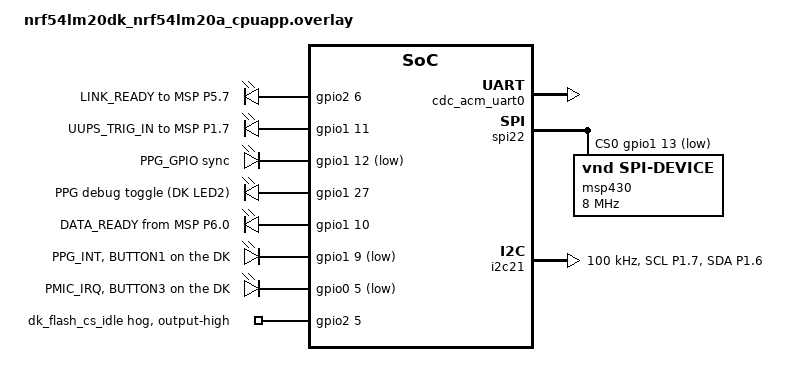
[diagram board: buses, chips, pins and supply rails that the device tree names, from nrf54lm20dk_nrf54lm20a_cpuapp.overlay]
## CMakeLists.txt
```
# SPDX-License-Identifier: Apache-2.0

cmake_minimum_required(VERSION 3.20.0)
find_package(Zephyr REQUIRED HINTS $ENV{ZEPHYR_BASE})
project(us-ppg-patch)

include(${ZEPHYR_BASE}/samples/subsys/usb/common/common.cmake)


target_sources(app PRIVATE
	src/main.c
	src/commands.c
	src/wulpus_appl.c
)

# Data link to the PC: BLE or USB, see CONFIG_APP_TRANSPORT_BLE in Kconfig.
if(CONFIG_APP_TRANSPORT_BLE)
	target_sources(app PRIVATE src/transport_ble.c)
else()
	target_sources(app PRIVATE src/transport_usb.c)
endif()

# M7: PPG SOURCE, SEE CONFIG_APP_PPG_REAL IN KCONFIG.
# THE FILE LIST IS THE SAME AS IN BIOGAP'S CMAKELISTS.TXT, WITHOUT I2C_MUX.C
# (i2c_mux/I2C_MUX.H IS A HEADER-ONLY STUB).
if(CONFIG_APP_PPG_REAL)
	target_sources(app PRIVATE
		src/ppg_new/maxm86161_i2c.c
		src/ppg_new/maxm86161.c
		src/ppg_new/ppg_new_appl.c
	)
else()
	target_sources(app PRIVATE src/dummy_source.c)
endif()

# M7: SAME INCLUDE PATHS AS BIOGAP, SO THE COPIED FILES KEEP THEIR #INCLUDE LINES:
# SRC FOR "ppg_new/ppg_new_appl.h" AND "i2c_mux/i2c_mux.h",
# SRC/ppg_new FOR THE BARE "maxm86161_i2c.h" ETC.
target_include_directories(app PRIVATE
	src
	src/ppg_new
)


# Part A of M5. Remove for a real MSP.
target_compile_definitions(app PRIVATE WULPUS_LOOPBACK_TEST)
```

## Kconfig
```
# USB helper options from the Zephyr samples.
source "samples/subsys/usb/common/Kconfig.sample_usbd"

config APP_TRANSPORT_BLE
	bool "Send data over BLE (NUS) instead of USB"
	default y
	help
	  y: transport_ble.c, data goes over BLE to the dongle.
	  n: transport_usb.c, data goes over the DK's nRF USB port.

# M7: REAL MAXM86161 OR FAKE PPG DATA.
config APP_PPG_REAL
	bool "Read PPG from the MAXM86161 instead of dummy data"
	default y
	select I2C
	help
	  y: ppg_new (ported from BioGAP), needs the sensor on I2C.
	  n: dummy_source.c, a fake triangle wave, no sensor needed.


source "Kconfig.zephyr"
```

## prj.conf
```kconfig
CONFIG_GPIO=y

# USB CDC ACM (data link to BioGUI)
CONFIG_USB_DEVICE_STACK_NEXT=y
CONFIG_USBD_CDC_ACM_CLASS=y
CONFIG_CDC_ACM_SERIAL_INITIALIZE_AT_BOOT=n
CONFIG_SERIAL=y
CONFIG_UART_LINE_CTRL=y
CONFIG_UART_INTERRUPT_DRIVEN=y
CONFIG_RING_BUFFER=y

CONFIG_LOG=y
CONFIG_USBD_LOG_LEVEL_ERR=y
CONFIG_UDC_DRIVER_LOG_LEVEL_ERR=y
CONFIG_USBD_CDC_ACM_LOG_LEVEL_OFF=y

CONFIG_SAMPLE_USBD_PRODUCT="BA patch"
CONFIG_SAMPLE_USBD_PID=0x0001

CONFIG_MAIN_STACK_SIZE=2048

# SPI to the MSP430
CONFIG_SPI=y


# BLE data link (from BioGAP prj.conf, adapted to NCS 3.4)
CONFIG_BT=y
CONFIG_BT_PERIPHERAL=y
CONFIG_BT_DEVICE_NAME="BIOGAPULTRA"
CONFIG_BT_MAX_CONN=1
CONFIG_BT_NUS=y
CONFIG_BT_GATT_CLIENT=y
CONFIG_BT_USER_PHY_UPDATE=y
CONFIG_BT_USER_DATA_LEN_UPDATE=y
CONFIG_BT_L2CAP_TX_MTU=247
CONFIG_BT_BUF_ACL_RX_SIZE=251
CONFIG_BT_BUF_ACL_TX_SIZE=251
CONFIG_BT_CTLR_DATA_LENGTH_MAX=251
CONFIG_BT_BUF_ACL_TX_COUNT=10
CONFIG_BT_BUF_EVT_RX_COUNT=11

CONFIG_APP_TRANSPORT_BLE=y

#CONFIG_APP_PPG_REAL=n

CONFIG_BT_CTLR_SDC_TX_PACKET_COUNT=10
```

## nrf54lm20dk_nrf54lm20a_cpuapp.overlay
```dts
/*
 * Own-board signals on the nRF54LM20 DK.
 * P2 has no GPIOTE, so interrupt inputs must stay on P0, P1 or P3.
 */

/ {
	/* M7: PPG_NEW_APPL.C USES DEVICE_DT_GET(DT_ALIAS(I2CB)), AS IN BIOGAP. */
	aliases {
		i2cb = &i2c21;
	};

	patch_outputs {
		compatible = "gpio-leds";

		link_ready: link_ready {
			gpios = <&gpio2 6 GPIO_ACTIVE_HIGH>;
			label = "LINK_READY to MSP P5.7";
		};

		uups_trig: uups_trig {
			gpios = <&gpio1 11 GPIO_ACTIVE_HIGH>;
			label = "UUPS_TRIG_IN to MSP P1.7";
		};

		ppg_sync: ppg_sync {
			gpios = <&gpio1 12 GPIO_ACTIVE_LOW>;
			label = "PPG_GPIO sync";
		};

		/* M7: BIOGAP'S PPG_DEBUG TOGGLE OUTPUT. ON THE DK IT GOES TO LED2
		 * (P1.27), SO IT BLINKS EVERY 100 PPG SAMPLES. THE OWN BOARD HAS
		 * NO SUCH PIN: USE A SPARE PIN OR TEST POINT THERE. */
		ppg_debug: ppg_debug {
			gpios = <&gpio1 27 GPIO_ACTIVE_HIGH>;
			label = "PPG debug toggle (DK LED2)";
		};
	};

	patch_inputs {
		compatible = "gpio-leds";

		data_ready: data_ready {
			gpios = <&gpio1 10 (GPIO_ACTIVE_HIGH | GPIO_PULL_DOWN)>;
			label = "DATA_READY from MSP P6.0";
		};

		/* M7: LABEL RENAMED FROM PPG_INT TO PPG_INTB, THE NAME BIOGAP'S
		 * PPG_NEW_APPL.C EXPECTS. SAME PIN AS BEFORE. */
		ppg_intb: ppg_intb {
			gpios = <&gpio1 9 (GPIO_ACTIVE_LOW | GPIO_PULL_UP)>;
			label = "PPG_INT, BUTTON1 on the DK";
		};

		pmic_irq: pmic_irq {
			gpios = <&gpio0 5 (GPIO_ACTIVE_LOW | GPIO_PULL_UP)>;
			label = "PMIC_IRQ, BUTTON3 on the DK";
		};
	};
};

/* Creates a virtual serial port on the nRF's USB connector. */
&zephyr_udc0 {
	cdc_acm_uart0: cdc_acm_uart0 {
		compatible = "zephyr,cdc-acm-uart";
		label = "Patch data link";
	};
};

/*
 * DK only: the onboard flash shares SPI00 and uses P2.05 as CS.
 * Remove the flash node, keep P2.05 high, and use P1.13 as CS.
 * On the own board: remove the &gpio2 block and use P2.05 as CS.
 * WICHTIG: auf DK funktioniert port 2 nicht für SPI (MISO, MOSI) das fürs eigene board aber wieder zurücksetzen. -> &spi00
 */
/delete-node/ &mx25r64;

&gpio2 {
	dk_flash_cs_idle {
		gpio-hog;
		gpios = <5 GPIO_ACTIVE_HIGH>;
		output-high;
	};
};

&spi22 {
	status = "okay";
	cs-gpios = <&gpio1 13 GPIO_ACTIVE_LOW>;

	msp430: msp430@0 {
		compatible = "vnd,spi-device";
		reg = <0>;
		spi-max-frequency = <DT_FREQ_M(8)>;
	};
};

/*
 * M7: I2C TO THE MAXM86161.
 * DK: TWIM21 ON P1.07 (SCL) AND P1.06 (SDA), BOTH ON THE DK'S PIN HEADER.
 *  - NOT TWIM20: IT SHARES ITS HARDWARE WITH UART20, THE DK'S LOG CONSOLE.
 *  - NOT TWIM22: IT SHARES ITS HARDWARE WITH SPI22, USED FOR THE MSP ABOVE.
 *  - NOT P1.28 FOR SDA (OWN-BOARD PIN): ON THE DK IT DRIVES LED3.
 * OWN BOARD: SCL P1.07, SDA P1.28 (SEE PINBELEGUNG_MSP_NRF.XLSX).
 * BIAS-PULL-UP TURNS ON THE NRF'S WEAK INTERNAL PULL-UPS. THEY ARE ONLY A
 * FALLBACK: THE PPG BOARD SHOULD HAVE ITS OWN PULL-UP RESISTORS.
 */
&pinctrl {
	i2c21_default: i2c21_default {
		group1 {
			psels = <NRF_PSEL(TWIM_SCL, 1, 7)>,
				<NRF_PSEL(TWIM_SDA, 1, 6)>;
			bias-pull-up;
		};
	};

	i2c21_sleep: i2c21_sleep {
		group1 {
			psels = <NRF_PSEL(TWIM_SCL, 1, 7)>,
				<NRF_PSEL(TWIM_SDA, 1, 6)>;
			low-power-enable;
		};
	};
};

&i2c21 {
	status = "okay";
	pinctrl-0 = <&i2c21_default>;
	pinctrl-1 = <&i2c21_sleep>;
	pinctrl-names = "default", "sleep";
	/* M7: 400 KHZ. THE MAXM86161 SUPPORTS FAST MODE. but only with pukkups.  */
	clock-frequency = <I2C_BITRATE_STANDARD>;
};
```

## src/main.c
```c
/*
 * M5: real WULPUS SPI module, PPG still dummy.
 * With WULPUS_LOOPBACK_TEST, a thread plays the MSP on DATA_READY.
 * M7: REAL PPG SENSOR (MAXM86161) WITH CONFIG_APP_PPG_REAL=Y, OTHERWISE DUMMY.
 */

#include <stdio.h>
#include <zephyr/kernel.h>
#include <zephyr/drivers/gpio.h>
#include <string.h>

#include "commands.h"
#include "transport.h"
#include "wulpus_appl.h"

#if defined(CONFIG_APP_PPG_REAL)
#include "ppg_new/ppg_new_appl.h"
#else
#include "dummy_source.h"
#endif

static const struct gpio_dt_spec led = GPIO_DT_SPEC_GET(DT_ALIAS(led0), gpios);

#if defined(WULPUS_LOOPBACK_TEST)
static const struct gpio_dt_spec fake_data_ready =
	GPIO_DT_SPEC_GET(DT_NODELABEL(uups_trig), gpios);

static void fake_msp_thread(void *a, void *b, void *c)
{
	gpio_pin_configure_dt(&fake_data_ready, GPIO_OUTPUT_INACTIVE);

	while (1) {
		k_msleep(33);

		if (wulpus_is_streaming()) {
			gpio_pin_set_dt(&fake_data_ready, 1);
			k_busy_wait(50);
			gpio_pin_set_dt(&fake_data_ready, 0);
		}
	}
}

K_THREAD_DEFINE(fake_msp_tid, 1024, fake_msp_thread, NULL, NULL, NULL, 7, 0, 0);

#endif

int main(void)
{
	if (!gpio_is_ready_dt(&led)) {
		return 0;
	}

	gpio_pin_configure_dt(&led, GPIO_OUTPUT_INACTIVE);

	wulpus_init();

#if defined(CONFIG_APP_PPG_REAL)
	/* SAME AS BIOGAP MAIN.C: IF THE SENSOR DOESN'T ANSWER, LOG IT AND KEEP
	 * RUNNING, SO ULTRASOUND STILL WORKS. */
	if (ppg_new_init() != 0) {
		printf("PPG init failed - PPG streaming disabled\n");
	}
#endif

	if (commands_init() != 0 || transport_init() != 0) {
		return 0;
	}

	printf("M7 started\n");

	while (1) {
		gpio_pin_toggle_dt(&led);
#if defined(CONFIG_APP_PPG_REAL)
		/* PPG_NEW HAS NO PACKET COUNTER GETTER. STATE: 0 IDLE, 1 STARTING,
		 * 2 STREAMING, 3 STOPPING, 4 ERROR. */
		printf("frames=%u spi_errors=%u ppg_state=%d dropped=%u\n", wulpus_frames(),
		       wulpus_spi_errors(), (int)ppg_new_get_state(),
		       transport_dropped_packets());
#else
		printf("frames=%u spi_errors=%u ppg_packets=%u dropped=%u\n", wulpus_frames(),
		       wulpus_spi_errors(), dummy_ppg_packets(), transport_dropped_packets());
#endif
		k_msleep(1000);
	}

	return 0;
}
```

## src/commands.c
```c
/*
 * Command handling, cut down from BioGAP core/command_dispatcher.c.
 * USB has no message boundaries, so the first byte gives the message length.
 */

#include "commands.h"
#include "transport.h"
#include "wulpus_appl.h"

/* M7: REAL SENSOR (PPG_NEW_APPL.C) OR FAKE DATA (DUMMY_SOURCE.C),
 * PICKED WITH CONFIG_APP_PPG_REAL IN KCONFIG. */
#if defined(CONFIG_APP_PPG_REAL)
#include "ppg_new/ppg_new_appl.h"
#else
#include "dummy_source.h"
#endif

#include <stdbool.h>
#include <stdio.h>
#include <string.h>
#include <zephyr/kernel.h>

#define START_PPG_STREAMING 39
#define STOP_PPG_STREAMING 40
#define START_WULPUS_STREAMING 41
#define STOP_WULPUS_STREAMING 42

#define MSP_CONFIG_BYTE 0xFA
#define MSP_RESTART_BYTE 0xFB
#define PPG_START_LEN 12

static bool wulpus_restart_rcv;

static uint8_t rx_msg[MSP_RESTART_PCK_LEN];
static uint16_t rx_pos;
static uint16_t rx_need;

static uint16_t message_length(uint8_t first)
{
	switch (first) {
	case START_PPG_STREAMING:
		return PPG_START_LEN;
	case STOP_PPG_STREAMING:
	case START_WULPUS_STREAMING:
	case STOP_WULPUS_STREAMING:
		return 1;
	case MSP_CONFIG_BYTE:
	case MSP_RESTART_BYTE:
		return MSP_RESTART_PCK_LEN;
	default:
		return 0;
	}
}

#if defined(CONFIG_APP_PPG_REAL)
/* COPIED FROM BIOGAP CORE/COMMAND_DISPATCHER.C, CASE START_PPG_STREAMING.
 * THE PARSER ABOVE ALWAYS DELIVERS ALL 12 BYTES, SO THE DEFAULTS ONLY
 * MATTER IF PPG_START_LEN IS EVER CHANGED. */
static void ppg_start_from_command(const uint8_t *data, uint16_t size)
{
      /*
       * Payload layout (bytes after command code 39):
       *   [1]  sensor_mask
       *   [2]  sample_rate_hz
       *   [3]  led_green     (0x00 = disable)
       *   [4]  led_ir        (0x00 = disable)
       *   [5]  led_red       (0x00 = disable)
       *   [6]  led_range     (0-3 index)
       *   [7]  tint          (0-3 index)
       *   [8]  adc_range     (0-3 index)
       *   [9]  sample_avg    (0-7 index)
       *   [10] alc_enable    (0/1)
       *   [11] proximity_enable (0/1)
       * Total packet size: 12 bytes (cmd + 11 config bytes).
       * If the payload is shorter than expected (e.g. the WiFi shield's
       * fixed-size command transaction, which only ever supplies the
       * opcode), missing bytes fall back to these defaults.
       */
      const uint8_t *d = data;
      uint16_t       n = size;

      ppg_config_t pcfg = {
        .sensor_mask      = (n >  1) ? d[1]  : 0x01,
        .sample_rate_hz   = (n >  2) ? d[2]  : 125,
        .led_green        = (n >  3) ? d[3]  : 0x7F,
        .led_ir           = (n >  4) ? d[4]  : 0x7F,
        .led_red          = (n >  5) ? d[5]  : 0x7F,
        .led_range        = (n >  6) ? d[6]  : 3,   /* default 32k */
        .tint             = (n >  7) ? d[7]  : 3,   /* default 117.3 µs */
        .adc_range        = (n >  8) ? d[8]  : 3,   /* default 32k */
        .sample_avg       = (n >  9) ? d[9]  : 0,   /* default 1x */
        .alc_enable       = (n > 10) ? d[10] : 1,   /* default on */
        .proximity_enable = (n > 11) ? d[11] : 0,   /* default off */
      };

      ppg_new_start_streaming(&pcfg);
}
#endif

void handle_connectivity_command(const uint8_t *data, uint16_t size)
{
	switch (data[0]) {
	case START_PPG_STREAMING:
		printf("PPG start: %u Hz\n", data[2]);
#if defined(CONFIG_APP_PPG_REAL)
		ppg_start_from_command(data, size);
#else
		dummy_ppg_start();
#endif
		break;

	case STOP_PPG_STREAMING:
		printf("PPG stop\n");
#if defined(CONFIG_APP_PPG_REAL)
		ppg_new_stop_streaming();
#else
		dummy_ppg_stop();
#endif
		break;

	case START_WULPUS_STREAMING:
		printf("WULPUS start\n");
		wulpus_restart_rcv = true;
		break;

	case STOP_WULPUS_STREAMING:
		printf("WULPUS stop\n");
		wulpus_stop();
		break;

	default:
		if (wulpus_restart_rcv) {
			printf("MSP package 0x%02X, %u bytes\n", data[0], size);
			wulpus_set_msp_config(data, size);
		}
		break;
	}
}

/**
 * Handles received bytes from the transport layer.
 * @param data Pointer to the received data.
 * @param size Number of bytes received.
 */
void transport_rx_bytes(const uint8_t *data, uint32_t size)
{
	for (uint32_t i = 0; i < size; i++) {
		if (rx_pos == 0) {
			rx_need = message_length(data[i]);
			if (rx_need == 0) {
				printf("Unknown byte: 0x%02X\n", data[i]);
				continue;
			}
		}
		/*bytes are collected in rx_msg until rx_need (=complete message) is reached*/
		rx_msg[rx_pos++] = data[i];

		if (rx_pos == rx_need) {
			handle_connectivity_command(rx_msg, rx_need);
			rx_pos = 0;
		}
	}
}

int commands_init(void)
{
	return 0;
}
```

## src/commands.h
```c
#ifndef COMMANDS_H
#define COMMANDS_H

#include <stdint.h>

int commands_init(void);

/* Same name as in BioGAP command_dispatcher.h. */
void handle_connectivity_command(const uint8_t *data, uint16_t size);

#endif
```

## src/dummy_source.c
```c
/*
 * Fake ultrasound frames and PPG packets in the final BLE packet format.
 * Replaced by wulpus_appl.c in M5 and ppg_new in M7.
 */

#include "dummy_source.h"
#include "transport.h"

#include <string.h>
#include <zephyr/kernel.h>
#include <zephyr/sys/byteorder.h>

#define PKT_SIZE 211

#define US_FRAME_SIZE 804
#define US_CHUNK_SIZE 201
#define US_CHUNKS 4
#define US_SAMPLES 400
#define US_PERIOD_MS 33

#define PPG_HEADER 0x70
#define PPG_TRAILER 0x71
#define PPG_SAMPLES 4
#define PPG_LEDS 3
#define PPG_PERIOD_MS 32

static atomic_t us_on;
static atomic_t ppg_on;
static atomic_t us_frames;
static atomic_t ppg_packets;

static uint8_t us_frame[US_FRAME_SIZE];

void dummy_us_start(void)
/*writes value into atomic_t us_on*/
{
	atomic_set(&us_on, 1);
}

void dummy_us_stop(void)
/*writes value into atomic_t us_on*/
{
	atomic_set(&us_on, 0);
}

void dummy_ppg_start(void)
/*writes value into atomic_t ppg_on*/
{
	atomic_set(&ppg_on, 1);
}

void dummy_ppg_stop(void)
/*writes value into atomic_t ppg_on*/
{
	atomic_set(&ppg_on, 0);
}

uint32_t dummy_us_frames(void)
{
	return atomic_get(&us_frames);
}

uint32_t dummy_ppg_packets(void)
{
	return atomic_get(&ppg_packets);
}

static void build_us_frame(uint16_t frame_nr)
{
	us_frame[0] = 0xFF;
	us_frame[1] = 0;
	sys_put_le16(frame_nr, &us_frame[2]); /*writes value into us_frame[2] and us_frame[3], frame_nr = 16bit value, &us_frame[2] is the address of the first byte */

	for (int i = 0; i < US_SAMPLES; i++) {
		int16_t sample = (int16_t)((((i + frame_nr) % US_SAMPLES) * 5) - 1000); /*calculates fake ultrasound sample*/

		sys_put_le16((uint16_t)sample, &us_frame[4 + (2 * i)]);
	}
}

static void us_thread(void *a, void *b, void *c)
{
	static uint8_t pkt[PKT_SIZE];
	uint16_t frame_nr = 0;

	while (1) {
		k_msleep(US_PERIOD_MS);

		if (!atomic_get(&us_on)) {
			continue;
		}

		uint32_t ts_us = k_cyc_to_us_floor32(k_cycle_get_32());

		build_us_frame(frame_nr);

		for (int i = 0; i < US_CHUNKS; i++) {
			memset(pkt, 0, sizeof(pkt)); 			/*sets all bytes in pkt to 0*/
			pkt[0] = 0x10 + i; 						/*writes value into pkt[0]*/
			sys_put_le16(frame_nr, &pkt[1]); 		/*writes value into pkt[1] and pkt[2]*/
			sys_put_le32(ts_us, &pkt[3]); 			/*writes value into pkt[3], pkt[4], pkt[5] and pkt[6]*/
			memcpy(&pkt[7], &us_frame[i * US_CHUNK_SIZE], US_CHUNK_SIZE); /*copies data from us_frame to pkt*/
			add_data_to_send_buffer(pkt, PKT_SIZE);
		}

		frame_nr++;
		atomic_inc(&us_frames);
	}
}

static void ppg_thread(void *a, void *b, void *c)
{
	static uint8_t pkt[PKT_SIZE];
	uint16_t counter = 0;
	uint32_t sample_nr = 0;

	while (1) {
		k_msleep(PPG_PERIOD_MS);

		if (!atomic_get(&ppg_on)) {
			continue;
		}

		memset(pkt, 0, sizeof(pkt));
		pkt[0] = PPG_HEADER;
		sys_put_le16(counter, &pkt[1]);
		sys_put_le32(k_cyc_to_us_floor32(k_cycle_get_32()), &pkt[3]);
		pkt[7] = 0x01;
		pkt[8] = 0x07;
		pkt[9] = 0;

		uint8_t *out = &pkt[10];

		for (int s = 0; s < PPG_SAMPLES; s++) {
			/* One triangle per second, like a slow pulse. */
			uint32_t pos = sample_nr % 125;
			uint16_t wave = (uint16_t)((pos < 62 ? pos : 125 - pos) * 100);

			for (int led = 0; led < PPG_LEDS; led++) {
				sys_put_le16((uint16_t)(20000 + (led * 5000) + wave), out);
				out += 2;
			}
			sample_nr++;
		}

		pkt[PKT_SIZE - 1] = PPG_TRAILER;
		add_data_to_send_buffer(pkt, PKT_SIZE);

		counter++;
		atomic_inc(&ppg_packets);
	}
}

K_THREAD_DEFINE(us_tid, 1536, us_thread, NULL, NULL, NULL, 5, 0, 0);
K_THREAD_DEFINE(ppg_tid, 1536, ppg_thread, NULL, NULL, NULL, 5, 0, 0);
```

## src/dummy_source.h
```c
#ifndef DUMMY_SOURCE_H
#define DUMMY_SOURCE_H

#include <stdint.h>

void dummy_us_start(void);
void dummy_us_stop(void);
void dummy_ppg_start(void);
void dummy_ppg_stop(void);

uint32_t dummy_us_frames(void);
uint32_t dummy_ppg_packets(void);

#endif
```

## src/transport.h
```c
#ifndef TRANSPORT_H
#define TRANSPORT_H

#include <stdint.h>

/*
 * Data link to the PC: USB (transport_usb.c) or BLE (transport_ble.c).
 * CONFIG_APP_TRANSPORT_BLE picks one of them in CMakeLists.txt.
 */

/* Same name as in BioGAP ble_appl.h: all sensor data leaves through here. */
void add_data_to_send_buffer(uint8_t *data, uint16_t size);

/* Called by the transport with bytes from the PC (implemented in commands.c). */
void transport_rx_bytes(const uint8_t *data, uint32_t size);

int transport_init(void);
uint32_t transport_dropped_packets(void);

#endif
```

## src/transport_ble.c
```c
/*
 * BLE data link (Nordic UART Service) to the dongle and BioGUI.
 * Ported from BioGAP Firmware/src_NRF/ble/bluetooth.c and ble/ble_appl.c
 * (pulp-bio/BioGAP main @ 3cfb671): advertising, connection tuning,
 * send queue and receive queue. GAP9 forwarding, board states, battery
 * status and the throughput test are left out.
 */

#include "transport.h"

#include <string.h>
#include <zephyr/bluetooth/bluetooth.h>
#include <zephyr/bluetooth/conn.h>
#include <zephyr/bluetooth/gatt.h>
#include <zephyr/bluetooth/hci.h>
#include <zephyr/kernel.h>
#include <zephyr/logging/log.h>

#include <bluetooth/services/nus.h>

LOG_MODULE_REGISTER(transport_ble, LOG_LEVEL_INF);

#define DEVICE_NAME CONFIG_BT_DEVICE_NAME
#define DEVICE_NAME_LEN (sizeof(DEVICE_NAME) - 1)

/* Largest message in either direction: 247-byte MTU minus 3 bytes ATT header. */
#define BLE_PKT_MAX 244

/* 7.5 ms connection interval (in 1.25 ms units), as in BioGAP. */
#define INTERVAL_MIN 6
#define INTERVAL_MAX 6

#define SEND_QUEUE_LEN 40
#define RECV_QUEUE_LEN 8

typedef struct {
	uint16_t size;
	uint8_t data[BLE_PKT_MAX];
} ble_packet_t;

K_MSGQ_DEFINE(send_msgq, sizeof(ble_packet_t), SEND_QUEUE_LEN, 4);
K_MSGQ_DEFINE(recv_msgq, sizeof(ble_packet_t), RECV_QUEUE_LEN, 4);

static struct bt_conn *current_conn;
static struct bt_gatt_exchange_params exchange_params;
static struct k_work advertise_work;
static atomic_t dropped;

static const struct bt_data ad[] = {
	BT_DATA_BYTES(BT_DATA_FLAGS, (BT_LE_AD_GENERAL | BT_LE_AD_NO_BREDR)),
	BT_DATA(BT_DATA_NAME_COMPLETE, DEVICE_NAME, DEVICE_NAME_LEN),
};

static const struct bt_data sd[] = {
	BT_DATA_BYTES(BT_DATA_UUID128_ALL, BT_UUID_NUS_VAL),
};

static void advertise(struct k_work *work)
{
	int err = bt_le_adv_start(BT_LE_ADV_CONN_FAST_1, ad, ARRAY_SIZE(ad), sd, ARRAY_SIZE(sd));

	if (err) {
		LOG_ERR("Advertising failed to start (err %d)", err);
		return;
	}
	LOG_INF("Advertising as \"%s\"", DEVICE_NAME);
}

static void exchange_func(struct bt_conn *conn, uint8_t att_err,
			  struct bt_gatt_exchange_params *params)
{
	if (!att_err) {
		LOG_INF("MTU exchange done, max payload %u bytes", bt_gatt_get_mtu(conn) - 3);
	} else {
		LOG_WRN("MTU exchange failed (err %u)", att_err);
	}
}

static void tune_connection(struct bt_conn *conn)
{
	static const struct bt_le_conn_param conn_param =
		BT_LE_CONN_PARAM_INIT(INTERVAL_MIN, INTERVAL_MAX, 0, 400);
	static const struct bt_conn_le_phy_param phy = {
		.options = BT_CONN_LE_PHY_OPT_NONE,
		.pref_rx_phy = BT_GAP_LE_PHY_2M,
		.pref_tx_phy = BT_GAP_LE_PHY_2M,
	};
	static const struct bt_conn_le_data_len_param data_len = {
		.tx_max_len = BT_GAP_DATA_LEN_MAX,
		.tx_max_time = BT_GAP_DATA_TIME_MAX,
	};
	int err;

	err = bt_conn_le_param_update(conn, &conn_param);
	if (err) {
		LOG_WRN("Conn param update failed (err %d)", err);
	}

	err = bt_conn_le_phy_update(conn, &phy);
	if (err) {
		LOG_WRN("PHY update failed (err %d)", err);
	}

	err = bt_conn_le_data_len_update(conn, &data_len);
	if (err) {
		LOG_WRN("Data length update failed (err %d)", err);
	}

	exchange_params.func = exchange_func;
	err = bt_gatt_exchange_mtu(conn, &exchange_params);
	if (err) {
		LOG_WRN("MTU exchange failed to start (err %d)", err);
	}
}

static void connected(struct bt_conn *conn, uint8_t err)
{
	char addr[BT_ADDR_LE_STR_LEN];

	if (err) {
		LOG_ERR("Connection failed (err %u)", err);
		return;
	}

	bt_addr_le_to_str(bt_conn_get_dst(conn), addr, sizeof(addr));
	LOG_INF("Connected %s", addr);

	current_conn = bt_conn_ref(conn);
	tune_connection(conn);
}

static void disconnected(struct bt_conn *conn, uint8_t reason)
{
	LOG_INF("Disconnected (reason 0x%02x)", reason);

	if (current_conn) {
		bt_conn_unref(current_conn);
		current_conn = NULL;
	}

	/* Drop what was waiting for the old connection. */
	k_msgq_purge(&send_msgq);
}

/* The connection object is free again, so advertising can restart. */
static void recycled(void)
{
	k_work_submit(&advertise_work);
}

static void le_phy_updated(struct bt_conn *conn, struct bt_conn_le_phy_info *param)
{
	LOG_INF("PHY updated: TX %u, RX %u (2 = 2M)", param->tx_phy, param->rx_phy);
}

static void le_data_len_updated(struct bt_conn *conn, struct bt_conn_le_data_len_info *info)
{
	LOG_INF("Data length updated: TX %u, RX %u bytes", info->tx_max_len, info->rx_max_len);
}

static void le_param_updated(struct bt_conn *conn, uint16_t interval, uint16_t latency,
			     uint16_t timeout)
{
	LOG_INF("Conn params updated: interval %u x 1.25 ms", interval);
}

BT_CONN_CB_DEFINE(conn_callbacks) = {
	.connected = connected,
	.disconnected = disconnected,
	.recycled = recycled,
	.le_param_updated = le_param_updated,
	.le_phy_updated = le_phy_updated,
	.le_data_len_updated = le_data_len_updated,
};

/* NUS RX: the dongle may split one PC message into several writes. */
static void nus_received(struct bt_conn *conn, const uint8_t *const data, uint16_t len)
{
	ble_packet_t pkt;

	if (len > sizeof(pkt.data)) {
		LOG_WRN("NUS RX message truncated (%u bytes)", len);
		len = sizeof(pkt.data);
	}

	pkt.size = len;
	memcpy(pkt.data, data, len);

	if (k_msgq_put(&recv_msgq, &pkt, K_NO_WAIT) != 0) {
		LOG_ERR("NUS RX queue full, %u bytes dropped", len);
	}
}

static struct bt_nus_cb nus_cb = {
	.received = nus_received,
};

void add_data_to_send_buffer(uint8_t *data, uint16_t size)
{
	ble_packet_t pkt;

	if (current_conn == NULL || size > sizeof(pkt.data)) {
		atomic_inc(&dropped);
		return;
	}

	pkt.size = size;
	memcpy(pkt.data, data, size);

	/* Whole packets only: drop it if the queue is full. */
	if (k_msgq_put(&send_msgq, &pkt, K_NO_WAIT) != 0) {
		atomic_inc(&dropped);
	}
}

uint32_t transport_dropped_packets(void)
{
	return atomic_get(&dropped);
}

static void send_thread(void *a, void *b, void *c)
{
	ble_packet_t pkt;

	while (1) {
		k_msgq_get(&send_msgq, &pkt, K_FOREVER);

		if (bt_nus_send(NULL, pkt.data, pkt.size) != 0) {
			atomic_inc(&dropped);
		}
	}
}

static void recv_thread(void *a, void *b, void *c)
{
	ble_packet_t pkt;

	while (1) {
		k_msgq_get(&recv_msgq, &pkt, K_FOREVER);
		transport_rx_bytes(pkt.data, pkt.size);
	}
}

K_THREAD_DEFINE(ble_send_tid, 2048, send_thread, NULL, NULL, NULL, 5, 0, 0);
K_THREAD_DEFINE(ble_recv_tid, 2048, recv_thread, NULL, NULL, NULL, 6, 0, 0);

int transport_init(void)
{
	int err;

	k_work_init(&advertise_work, advertise);

	err = bt_enable(NULL);
	if (err) {
		LOG_ERR("Bluetooth init failed (err %d)", err);
		return err;
	}

	err = bt_nus_init(&nus_cb);
	if (err) {
		LOG_ERR("NUS init failed (err %d)", err);
		return err;
	}

	k_work_submit(&advertise_work);
	return 0;
}
```

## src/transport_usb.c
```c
/*
 * USB CDC ACM link to BioGUI.
 * TX keeps whole packets only, so the 211-byte framing in BioGUI stays aligned.
 * this file is the door to the PC. 
 * Senden:    add_data_to_send_buffer() → Ringpuffer → USB → PC
 * Empfangen: PC → USB → Ringpuffer → rx_thread → transport_rx_bytes()
 * Wenn der Computer nicht schnell genug ist, werden Pakete verworfen. Die Anzahl der verworfenen Pakete kann mit transport_dropped_packets() abgefragt werden.
 */

#include "transport.h"

#include <sample_usbd.h>
#include <stdio.h>
#include <zephyr/device.h>
#include <zephyr/drivers/uart.h>
#include <zephyr/kernel.h>
#include <zephyr/sys/ring_buffer.h>
#include <zephyr/usb/usbd.h>

#define TX_BUF_SIZE 8192
#define RX_BUF_SIZE 1024

static const struct device *const uart_dev = DEVICE_DT_GET(DT_NODELABEL(cdc_acm_uart0));

RING_BUF_DECLARE(tx_rb, TX_BUF_SIZE);
RING_BUF_DECLARE(rx_rb, RX_BUF_SIZE);

static K_MUTEX_DEFINE(tx_lock);
static K_SEM_DEFINE(rx_sem, 0, 1);
static atomic_t dropped;
static struct usbd_context *usbd_ctx;

static void usb_msg_cb(struct usbd_context *const ctx, const struct usbd_msg *msg)
/*reacts to connecting/disconnecting USB-cable*/
{
	if (!usbd_can_detect_vbus(ctx)) {
		return;
	}

	if (msg->type == USBD_MSG_VBUS_READY) {
		usbd_enable(ctx);
	} else if (msg->type == USBD_MSG_VBUS_REMOVED) {
		usbd_disable(ctx);
	}
}

static void uart_cb(const struct device *dev, void *user_data)
/*writes bytes between USB and ring buffer*/
{
	while (uart_irq_update(dev) && uart_irq_is_pending(dev)) {
		if (uart_irq_rx_ready(dev)) {
			uint8_t buf[64];
			int len = uart_fifo_read(dev, buf, sizeof(buf));

			if (len > 0) {
				ring_buf_put(&rx_rb, buf, len);
				k_sem_give(&rx_sem);
			}
		}

		if (uart_irq_tx_ready(dev)) {
			uint8_t *p;
			uint32_t len = ring_buf_get_claim(&tx_rb, &p, 512);

			if (len == 0) {
				uart_irq_tx_disable(dev);
			} else {
				int sent = uart_fifo_fill(dev, p, len);

				ring_buf_get_finish(&tx_rb, sent > 0 ? sent : 0);
			}
		}
	}
}

void add_data_to_send_buffer(uint8_t *data, uint16_t size)
{
	k_mutex_lock(&tx_lock, K_FOREVER);

	if (ring_buf_space_get(&tx_rb) < size) {
		atomic_inc(&dropped);
	} else {
		ring_buf_put(&tx_rb, data, size);
	}

	k_mutex_unlock(&tx_lock);
	uart_irq_tx_enable(uart_dev);
}

uint32_t transport_dropped_packets(void)
{
	return atomic_get(&dropped);
}

static void rx_thread(void *a, void *b, void *c)
{
	uint8_t buf[128];

	while (1) {
		k_sem_take(&rx_sem, K_FOREVER);

		uint32_t len;

		while ((len = ring_buf_get(&rx_rb, buf, sizeof(buf))) > 0) {
			transport_rx_bytes(buf, len);
		}
	}
}

K_THREAD_DEFINE(rx_tid, 1536, rx_thread, NULL, NULL, NULL, 6, 0, 0);

int transport_init(void)
{
	if (!device_is_ready(uart_dev)) {
		printf("USB device not ready\n");
		return -ENODEV;
	}

	usbd_ctx = sample_usbd_init_device(usb_msg_cb);
	if (usbd_ctx == NULL) {
		printf("USB init failed\n");
		return -ENODEV;
	}

	if (!usbd_can_detect_vbus(usbd_ctx)) {
		int ret = usbd_enable(usbd_ctx);

		if (ret != 0) {
			printf("USB enable failed: %d\n", ret);
			return ret;
		}
	}

	uart_irq_callback_set(uart_dev, uart_cb);
	uart_irq_rx_enable(uart_dev);

	return 0;
}
```

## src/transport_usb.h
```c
#ifndef TRANSPORT_USB_H
#define TRANSPORT_USB_H

#include <stdint.h>

/* Same name as in BioGAP ble_appl.h: all sensor data leaves through here. */
void add_data_to_send_buffer(uint8_t *data, uint16_t size);

/* Called from the USB RX thread with bytes from the PC. */
void usb_rx_bytes(const uint8_t *data, uint32_t size);

int usb_transport_init(void);
uint32_t usb_dropped_packets(void);

#endif
```

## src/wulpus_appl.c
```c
/*
 * ----------------------------------------------------------------------
 *
 * File: wulpus_appl.c
 *
 * Copyright (C) 2026, ETH Zurich
 *
 * Authors:
 * - Sebastian Frey (sefrey@iis.ee.ethz.ch), ETH Zurich
 *
 * ----------------------------------------------------------------------
 * SPDX-License-Identifier: Apache-2.0
 *
 * Licensed under the Apache License, Version 2.0 (the License); you may
 * not use this file except in compliance with the License.
 * You may obtain a copy of the License at
 *
 * www.apache.org/licenses/LICENSE-2.0
 *
 * Unless required by applicable law or agreed to in writing, software
 * distributed under the License is distributed on an AS IS BASIS, WITHOUT
 * WARRANTIES OR CONDITIONS OF ANY KIND, either express or implied.
 * See the License for the specific language governing permissions and
 * limitations under the License.
 */

/**
 * @file wulpus_appl.c
 * @brief WULPUS ultrasound sensor interface – nRF54LM20 / Zephyr port
 *
 * Ported from BioGAP Firmware/src_NRF/sensors/wulpus/wulpus_appl.c
 * (pulp-bio/BioGAP main @ 3cfb671) to NCS v3.4.2 and the nRF54LM20A.
 * 
 * Changes: 
 * - Zephyr SPI driver instead of nrfx (in a later step consider 
 * also not using general API, but like this it is easier to transfer it 
 * to own board. The general API is easier to get right), 
 * - ESP/Wi-Fi path removed (not needed),
 * - rail control removed, (my PMIC has other rails. So same control wouldnt work) => adapted in M8
 * - frames only forwarded after a config package, and a
 * DATA_READY level check when the link goes high.
 *
 * It preserves the full BLE / SPI packet protocol
 * so the existing WULPUS receiver dongle works without modification.
 *
 * Protocol summary:
 *   - MSP430 signals a new US frame by asserting HOST_DATA_RDY (rising edge).
 *   - nRF5340 performs 4 × 201-byte full-duplex SPI transfers over SPI_B.
 *   - The received frame (4 × 201 bytes) is forwarded via BLE NUS as four
 *     211-byte notifications, each = 7-byte header/counter/timestamp prefix
 *     + one 201-byte SPI chunk + 3 reserved bytes (see WULPUS_META_* and the
 *     BLE forwarding thread).
 *   - Ring buffer holds up to WULPUS_MAX_FRAMES complete US frames.
 *   - The same TX buffer (MSP430 configuration) is used for all 4 SPI TXs.
 *
 * SPI and control pins are defined in the devicetree overlay.
 */

#include "wulpus_appl.h"
#include "transport.h"

#include <string.h>
#include <zephyr/device.h>
#include <zephyr/devicetree.h>
#include <zephyr/drivers/gpio.h>
#include <zephyr/drivers/spi.h>
#include <zephyr/kernel.h>
#include <zephyr/logging/log.h>

LOG_MODULE_REGISTER(wulpus, LOG_LEVEL_INF);

/*==============================================================================
 * Protocol constants – must stay in sync with old nRF52 firmware
 *============================================================================*/

/** @brief Bytes per SPI transfer (TX and RX) */
#define WULPUS_BYTES_PER_XFER   201

/** @brief BLE packet headers for the four transfer chunks of one US frame */
#define WULPUS_BLE_HDR_XFER_0   0x10
#define WULPUS_BLE_HDR_XFER_1   0x11
#define WULPUS_BLE_HDR_XFER_2   0x12
#define WULPUS_BLE_HDR_XFER_3   0x13

/** @brief SPI transfers per US frame */
#define WULPUS_NUMBER_OF_XFERS  4

/** @brief Maximum number of buffered US frames */
#define WULPUS_MAX_FRAMES       35

/*==============================================================================
 * Device tree node references (GPIOs defined in the project overlay)
 *============================================================================*/

#define WULPUS_DATA_RDY_NODE  DT_NODELABEL(data_ready)
#define WULPUS_LINK_RDY_NODE  DT_NODELABEL(link_ready)
#define WULPUS_SPI_NODE       DT_NODELABEL(msp430)

/* MSP430 SPI slave: speed is set in the overlay, mode 1 (CPOL=0, CPHA=1). */
#define WULPUS_SPI_OPERATION  (SPI_OP_MODE_MASTER | SPI_WORD_SET(8) | \
                               SPI_TRANSFER_MSB | SPI_MODE_CPHA)

/*==============================================================================
 * Buffer type (identical layout to old ArrayList_type)
 *============================================================================*/

typedef struct {
    uint8_t buffer[WULPUS_BYTES_PER_XFER];
} wulpus_xfer_buf_t;

/*==============================================================================
 * Ring buffer
 *
 * Laid out as a flat array of (WULPUS_NUMBER_OF_XFERS * WULPUS_MAX_FRAMES)
 * contiguous slots.  Frame N occupies slots [N*4 .. N*4+3].
 *
 * Each slot's 201 SPI bytes are copied into one BLE packet at offset
 * WULPUS_SPI_OFF (byte 7), behind the header/counter/timestamp prefix.
 *============================================================================*/
static wulpus_xfer_buf_t m_rx_buf[WULPUS_NUMBER_OF_XFERS * WULPUS_MAX_FRAMES];

/** @brief Per-frame acquisition timestamp (µs), captured in the SPI thread when
 *  the frame is received, so the ring-buffer queueing delay does not skew it. */
static uint32_t m_frame_ts[WULPUS_MAX_FRAMES];

/** @brief SPI TX buffer – holds MSP430 configuration, repeated for all 4 TXs */
static uint8_t m_tx_buf[WULPUS_BYTES_PER_XFER];

/*==============================================================================
 * Ring buffer indices
 *   buffer_counter  – next write slot  (incremented by SPI thread)
 *   current_buffer  – next read slot   (incremented by BLE thread)
 *   buffer_content  – frames available
 *============================================================================*/
static volatile int buffer_counter = 0;
static volatile int current_buffer = 0;
static volatile int buffer_content = 0;

/*
 * Per-frame BLE packet counter, written into each frame's padding tail
 * (mirrors the EEG/EMG packet counter). Reset in wulpus_set_msp_config()
 * whenever a new config/restart is received, so each streaming session
 * starts from 0 like the ExG counter.
 */
static uint16_t wulpus_frame_counter = 0;

/*==============================================================================
 * State flags
 *============================================================================*/
static volatile bool msp_conf_received = false;
static volatile bool wulpus_active     = false;

/*
 * Frames are only forwarded after a 0xFA config package. A 0xFB restart needs
 * SPI transfers to reach the MSP430, but those frames are not sensor data.
 */
static volatile bool wulpus_forward    = false;

static atomic_t wulpus_frame_total;
static atomic_t wulpus_loopback_errors;

/*
 * Write position for BLE-fragmented MSP430 config assembly.
 * The WULPUS PRO dongle sends a 105-byte config split as two BLE NUS
 * notifications (64 + 41 bytes) because its nRF52 NUS MTU is 64 bytes.
 * A new config always starts with byte 0xFA (250) or 0xFB (251).
 * Continuation fragments start at other byte values and are appended.
 */
static uint16_t m_tx_write_pos = 0;

/*==============================================================================
 * SPI device
 *============================================================================*/
static const struct spi_dt_spec wulpus_spi =
    SPI_DT_SPEC_GET(WULPUS_SPI_NODE, WULPUS_SPI_OPERATION);

/*==============================================================================
 * Synchronization
 *============================================================================*/

/** @brief Given by GPIO ISR when HOST_DATA_RDY rises */
K_SEM_DEFINE(wulpus_data_rdy_sem, 0, 1);

/** @brief Given by SPI thread when a frame is ready to forward over BLE */
K_SEM_DEFINE(wulpus_ble_ready_sem, 0, WULPUS_MAX_FRAMES);

/*==============================================================================
 * GPIO
 *============================================================================*/
static const struct gpio_dt_spec host_data_rdy =
    GPIO_DT_SPEC_GET(WULPUS_DATA_RDY_NODE, gpios);

static const struct gpio_dt_spec host_link_rdy =
    GPIO_DT_SPEC_GET(WULPUS_LINK_RDY_NODE, gpios);

static struct gpio_callback data_rdy_cb_data;

/*==============================================================================
 * GPIO callback – HOST_DATA_RDY rising edge
 * Signals the SPI acquisition thread that the MSP430 has a new US frame.
 *============================================================================*/
static void data_rdy_gpio_cb(const struct device *dev,
                             struct gpio_callback *cb,
                             uint32_t pins)
{
    ARG_UNUSED(dev);
    ARG_UNUSED(cb);
    ARG_UNUSED(pins);

    if (wulpus_active) {
        k_sem_give(&wulpus_data_rdy_sem);
    }
}

/*==============================================================================
 * SPI acquisition thread
 *
 * Waits for HOST_DATA_RDY, then performs 4 consecutive 201-byte SPI
 * transfers.  Each transfer fills the next slot of the ring buffer.
 * On completion the BLE forwarding thread is signalled.
 *============================================================================*/
#define WULPUS_SPI_STACK_SIZE  2048
#define WULPUS_SPI_PRIORITY    4

static void wulpus_spi_thread(void *a, void *b, void *c)
{
    ARG_UNUSED(a); ARG_UNUSED(b); ARG_UNUSED(c);

    LOG_INF("WULPUS SPI thread started");

    while (1) {
        k_sem_take(&wulpus_data_rdy_sem, K_FOREVER);

        /* Timestamp frame acquisition here (≈ first sample), not at BLE-forward
         * time, so the ring-buffer queueing delay doesn't skew it. Stored for
         * the slot being filled; the BLE thread reads it back per frame. */
        m_frame_ts[buffer_counter] = k_cyc_to_us_floor32(k_cycle_get_32());

        for (int i = 0; i < WULPUS_NUMBER_OF_XFERS; i++) {
            uint8_t *rx = m_rx_buf[buffer_counter * WULPUS_NUMBER_OF_XFERS + i].buffer;

            const struct spi_buf tx_buf = { .buf = m_tx_buf, .len = WULPUS_BYTES_PER_XFER };
            const struct spi_buf_set tx = { .buffers = &tx_buf, .count = 1 };
            const struct spi_buf rx_buf = { .buf = rx, .len = WULPUS_BYTES_PER_XFER };
            const struct spi_buf_set rx_set = { .buffers = &rx_buf, .count = 1 };

            int err = spi_transceive_dt(&wulpus_spi, &tx, &rx_set); 
            if (err != 0) {
                LOG_ERR("SPI xfer %d failed: %d", i, err);
                continue;
            }

#if defined(WULPUS_LOOPBACK_TEST)
            if (memcmp(m_tx_buf, rx, WULPUS_BYTES_PER_XFER) != 0) {
                atomic_inc(&wulpus_loopback_errors);
            }
#endif
        }

        atomic_inc(&wulpus_frame_total);

        if (!wulpus_forward) {
            continue;
        }

        /* Frame complete – advance write pointer */
        buffer_content++;
        if (buffer_content > WULPUS_MAX_FRAMES - 1) {
            LOG_WRN("WULPUS ring buffer overflow");
            buffer_content = WULPUS_MAX_FRAMES - 1;
        }

        buffer_counter++;
        if (buffer_counter == WULPUS_MAX_FRAMES) {
            buffer_counter = 0;
        }
        //LOG_INF("WULPUS SPI done, give BLE ready sem");
        k_sem_give(&wulpus_ble_ready_sem);
    }
}

K_THREAD_DEFINE(wulpus_spi_tid, WULPUS_SPI_STACK_SIZE,
                wulpus_spi_thread, NULL, NULL, NULL,
                WULPUS_SPI_PRIORITY, 0, 0);

/*==============================================================================
 * BLE forwarding thread
 *
 * Drains the ring buffer and enqueues 4 BLE NUS notifications per frame.
 * Each BLE packet is framed with a 7-byte header/counter/timestamp prefix
 * (see WULPUS_META_* below), then one 201-byte SPI transfer chunk, then a
 * 3-byte reserved tail:
 *   packet 0 : 0x10 + 6 meta + 201 payload + 3 reserved = 211 bytes total
 *   packet 1 : 0x11 + 6 meta + 201 payload + 3 reserved = 211 bytes total
 *   packet 2 : 0x12 + 6 meta + 201 payload + 3 reserved = 211 bytes total
 *   packet 3 : 0x13 + 6 meta + 201 payload + 3 reserved = 211 bytes total
 *
 * The per-frame counter+timestamp prefix is mirrored into all four chunks so
 * the receiver can read it from any chunk, and matches the EEG/EMG/MIC/PPG
 * packet layout.
 *
 * 211 bytes matches EEG_PCKT_SIZE so the biogui can use a single
 * packetSize=211 for both WULPUS and EEG/EMG on the same stream.
 *============================================================================*/
#define WULPUS_BLE_STACK_SIZE  2048
#define WULPUS_BLE_PRIORITY    5
/** Standardized BLE packet size – must equal EEG_PCKT_SIZE (211). */
#define WULPUS_BLE_PKT_SIZE  (WULPUS_BYTES_PER_XFER + 1U + 9U)

/*
 * Per-frame metadata written at the FRONT of every chunk, mirrored into all
 * four chunks of a frame so the receiver can read it from any chunk. This
 * matches the EEG/EMG/MIC/PPG packet layout (header, counter, timestamp):
 *   [0]       chunk header (0x10..0x13)
 *   [1:3]     frame counter (uint16 LE)
 *   [3:7]     timestamp us  (uint32 LE)
 *   [7:208]   201-byte SPI payload chunk
 *   [208:211] reserved (zero)
 */
#define WULPUS_META_CNT_OFF  1U
#define WULPUS_META_TS_OFF   3U
#define WULPUS_SPI_OFF       7U

static void wulpus_ble_thread(void *a, void *b, void *c)
{
    ARG_UNUSED(a); ARG_UNUSED(b); ARG_UNUSED(c);

    //LOG_INF("WULPUS BLE thread started");

    uint8_t ble_packet[WULPUS_BLE_PKT_SIZE];
    /* Zero once. The header [0], metadata [1..6] and SPI payload [7..207] are
     * rewritten per chunk/frame below; the reserved bytes [208..210] stay zero. */
    memset(ble_packet, 0, WULPUS_BLE_PKT_SIZE);

    while (1) {
        k_sem_take(&wulpus_ble_ready_sem, K_FOREVER); 

        //LOG_INF("WULPUS BLE ready, processing frames");
        while (current_buffer != buffer_counter) {
            int base = current_buffer * WULPUS_NUMBER_OF_XFERS;

            /* Per-frame metadata at the front of every chunk (mirrored), matching
             * the ExG/MIC/PPG layout: counter (u16 LE) + microsecond timestamp
             * (u32 LE). These persist across the four sends because memcpy below
             * only rewrites the SPI payload region [7:208] and the header [0].
             * The timestamp was captured at frame acquisition (SPI thread). */
            uint32_t ts_us = m_frame_ts[current_buffer];
            ble_packet[WULPUS_META_CNT_OFF]     = (uint8_t)(wulpus_frame_counter);
            ble_packet[WULPUS_META_CNT_OFF + 1] = (uint8_t)(wulpus_frame_counter >> 8);
            //LOG_INF("WULPUS frame %d, timestamp %u us", wulpus_frame_counter, ts_us);
            ble_packet[WULPUS_META_TS_OFF]      = (uint8_t)(ts_us);
            ble_packet[WULPUS_META_TS_OFF + 1]  = (uint8_t)(ts_us >> 8);
            ble_packet[WULPUS_META_TS_OFF + 2]  = (uint8_t)(ts_us >> 16);
            ble_packet[WULPUS_META_TS_OFF + 3]  = (uint8_t)(ts_us >> 24);
            wulpus_frame_counter++;

            ble_packet[0] = WULPUS_BLE_HDR_XFER_0;
            memcpy(&ble_packet[WULPUS_SPI_OFF], m_rx_buf[base + 0].buffer, WULPUS_BYTES_PER_XFER);


                        
            add_data_to_send_buffer(ble_packet, WULPUS_BLE_PKT_SIZE);

            

            ble_packet[0] = WULPUS_BLE_HDR_XFER_1;
            memcpy(&ble_packet[WULPUS_SPI_OFF], m_rx_buf[base + 1].buffer, WULPUS_BYTES_PER_XFER);

            add_data_to_send_buffer(ble_packet, WULPUS_BLE_PKT_SIZE);

            ble_packet[0] = WULPUS_BLE_HDR_XFER_2;
            memcpy(&ble_packet[WULPUS_SPI_OFF], m_rx_buf[base + 2].buffer, WULPUS_BYTES_PER_XFER);

            add_data_to_send_buffer(ble_packet, WULPUS_BLE_PKT_SIZE);


            ble_packet[0] = WULPUS_BLE_HDR_XFER_3;
            memcpy(&ble_packet[WULPUS_SPI_OFF], m_rx_buf[base + 3].buffer, WULPUS_BYTES_PER_XFER);

            add_data_to_send_buffer(ble_packet, WULPUS_BLE_PKT_SIZE);


            buffer_content--;
            current_buffer++;
            if (current_buffer == WULPUS_MAX_FRAMES) {
                current_buffer = 0;
            }
        }
    }
}


K_THREAD_DEFINE(wulpus_ble_tid, WULPUS_BLE_STACK_SIZE,
                wulpus_ble_thread, NULL, NULL, NULL,
                WULPUS_BLE_PRIORITY, 0, 0);

/*==============================================================================
 * Public API
 *============================================================================*/

void wulpus_init(void)
{
    /* --- HOST_LINK_RDY output – initially LOW --- */
    if (!device_is_ready(host_link_rdy.port)) {
        LOG_ERR("HOST_LINK_RDY GPIO port not ready");
        return;
    }
    if (gpio_pin_configure_dt(&host_link_rdy, GPIO_OUTPUT_INACTIVE) < 0) {
        LOG_ERR("HOST_LINK_RDY configure failed");
        return;
    }

    /* --- HOST_DATA_RDY input + rising-edge interrupt --- */
    if (!device_is_ready(host_data_rdy.port)) {
        LOG_ERR("HOST_DATA_RDY GPIO port not ready");
        return;
    }
    if (gpio_pin_configure_dt(&host_data_rdy, GPIO_INPUT) < 0) {
        LOG_ERR("HOST_DATA_RDY configure failed");
        return;
    }
    if (gpio_pin_interrupt_configure_dt(&host_data_rdy,
                                        GPIO_INT_EDGE_TO_ACTIVE) < 0) {
        LOG_ERR("HOST_DATA_RDY interrupt configure failed");
        return;
    }
    gpio_init_callback(&data_rdy_cb_data, data_rdy_gpio_cb,
                       BIT(host_data_rdy.pin));
    if (gpio_add_callback(host_data_rdy.port, &data_rdy_cb_data) < 0) {
        LOG_ERR("HOST_DATA_RDY callback add failed");
        return;
    }

    if (!spi_is_ready_dt(&wulpus_spi)) {
        LOG_ERR("SPI device not ready");
        return;
    }

    LOG_INF("WULPUS initialized – HOST_LINK_RDY LOW, waiting for MSP430 config");

    /* Race-condition guard: if a BLE config packet arrived before wulpus_init()
     * ran (possible when the host connects quickly and sends the combined
     * EEG+WULPUS start sequence before the 5-second boot delay completes),
     * wulpus_set_msp_config() will have set wulpus_active=true and asserted
     * HOST_LINK_RDY HIGH – but gpio_pin_configure_dt() above just reset it LOW.
     * Re-assert here now that SPI and the GPIO ISR are fully set up. */
    if (wulpus_active) {
        gpio_pin_set_dt(&host_link_rdy, 1);
        LOG_INF("WULPUS: pre-init config detected – HOST_LINK_RDY re-asserted");
    }
}


void wulpus_set_msp_config(const uint8_t *config, uint16_t len)
{
    if (config != NULL && len > 0) {
        /* 0xFA (250) = new config, 0xFB (251) = restart — start a fresh assembly */
        LOG_INF("WULPUS wulpus_set_msp_config recv %u bytes - first byte is %d, last byte is %d", len, config[0], config[len - 1]);
        if (config[0] == 250 || config[0] == 251) {
            m_tx_write_pos = 0;
            wulpus_frame_counter = 0;   /* new streaming session: reset counter */
            wulpus_forward = (config[0] == 250);
        }
        uint16_t copy_len = MIN(len, (uint16_t)(WULPUS_BYTES_PER_XFER - m_tx_write_pos));
        memcpy(m_tx_buf + m_tx_write_pos, config, copy_len);
        m_tx_write_pos += copy_len;
    }

    /* A BLE-fragmented package (e.g. a 105-byte MSP_RESTART_PCK_LEN package
     * split across two ~64-byte NUS writes) reaches here once per fragment.
     * Signalling the MSP430 on a partial fragment would expose it to a
     * still-incomplete/stale m_tx_buf before the rest of the package
     * arrives, so wait for a complete package before doing anything the
     * MSP430 can observe. */
    if (m_tx_write_pos < MSP_RESTART_PCK_LEN) {
        LOG_INF("WULPUS config fragment (%u bytes, tx_buf filled %u/%u) – awaiting rest of package",
                (unsigned)len, (unsigned)m_tx_write_pos, (unsigned)MSP_RESTART_PCK_LEN);
        return;
    }

    /* Reset ring buffer */
    buffer_counter = 0;
    current_buffer = 0;
    buffer_content = 0;

    msp_conf_received = true;
    wulpus_active     = true;

    /* Assert HOST_LINK_RDY → MSP430 will start sending US frames */
    gpio_pin_set_dt(&host_link_rdy, 1);

    /* If DATA_READY rose while the link was down, that edge was ignored and
     * the MSP430 is still waiting for its SPI transfer. */
    if (gpio_pin_get_dt(&host_data_rdy) == 1) {
        k_sem_give(&wulpus_data_rdy_sem);
    }

    LOG_INF("WULPUS config package complete (tx_buf filled %u/%u) – HOST_LINK_RDY HIGH",
            (unsigned)m_tx_write_pos, (unsigned)WULPUS_BYTES_PER_XFER);
}

void wulpus_stop(void)
{
    wulpus_active     = false;
    wulpus_forward    = false;
    msp_conf_received = false;

    gpio_pin_set_dt(&host_link_rdy, 0);

    LOG_INF("WULPUS stopped – HOST_LINK_RDY LOW");
}

bool wulpus_is_streaming(void)
{
    return wulpus_active;
}

uint32_t wulpus_frames(void)
{
    return atomic_get(&wulpus_frame_total);
}

uint32_t wulpus_spi_errors(void)
{
    return atomic_get(&wulpus_loopback_errors);
}
```
